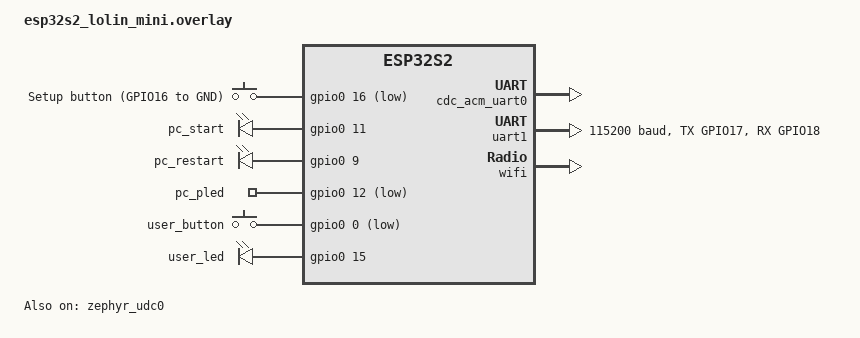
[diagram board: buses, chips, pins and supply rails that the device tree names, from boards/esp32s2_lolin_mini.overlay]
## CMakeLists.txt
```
cmake_minimum_required(VERSION 3.20.0)

find_package(Zephyr REQUIRED HINTS $ENV{ZEPHYR_BASE})
project(autoboot)

target_sources(app PRIVATE src/main.c src/certificate.c src/wifi_credentials.c
                           src/usb_maintenance.c src/mqtt_client.c)
target_link_libraries(app PRIVATE mbedTLS)

# Avoid Newlib locale-dependent ROM comparisons with Picolibc on ESP32-S2.
if(CONFIG_SOC_ESP32S2 AND CONFIG_PICOLIBC)
  target_sources(app PRIVATE src/esp32s2_string_compat.c)
  target_link_options(zephyr_interface INTERFACE
    -Wl,--wrap=strncasecmp -Wl,--wrap=strcasecmp)
endif()

# Zephyr 4.5's ESP32-S2 DWC2 UDC needs the ESP-IDF USB wrapper HAL.  Keep this
# compatibility glue in the application so a west update is never modified.
if(CONFIG_UDC_DWC2)
  set(AUTOBOOT_ESP_HAL_DIR "${WEST_TOPDIR}/modules/hal/espressif")
  zephyr_include_directories(
    "${AUTOBOOT_ESP_HAL_DIR}/components/esp_hal_usb/include"
    "${AUTOBOOT_ESP_HAL_DIR}/components/esp_hal_usb/esp32s2/include"
    "${AUTOBOOT_ESP_HAL_DIR}/components/usb/include"
  )
  target_sources(app PRIVATE
    "${AUTOBOOT_ESP_HAL_DIR}/components/esp_hal_usb/usb_wrap_hal.c"
  )
endif()
```

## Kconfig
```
mainmenu "AutoBoot Configuration"

config AUTOBOOT_DEVICE_NAME
	string "Device name"
	default "AutoBoot"
	help
	  Device name used as the prefix of the MQTT client identifier.
	  A Wi-Fi MAC suffix is added when available to keep identifiers unique.

config AUTOBOOT_MQTT_BROKER_HOST
	string "MQTT broker hostname"
	default "mqtt.example.com"
	help
	  Broker DNS hostname. This is also used as TLS SNI and the certificate
	  hostname, so do not set this to an IP address.

config AUTOBOOT_MQTT_BROKER_PORT
	int "MQTT over TLS WebSocket port"
	default 18443
	range 1 65535

config AUTOBOOT_PC_PULSE_MS
	int "PC control pulse duration in milliseconds"
	default 500
	range 50 5000

source "Kconfig.zephyr"
```

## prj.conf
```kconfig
# Networking and ESP32-S2 Wi-Fi station
CONFIG_NETWORKING=y
CONFIG_WIFI=y
CONFIG_WIFI_NM=y
CONFIG_NET_IPV4=y
CONFIG_NET_TCP=y
CONFIG_NET_DHCPV4=y
CONFIG_NET_HOSTNAME_ENABLE=y
CONFIG_NET_HOSTNAME="AutoBoot"
CONFIG_AUTOBOOT_DEVICE_NAME="AutoBoot"
CONFIG_NET_MGMT=y
CONFIG_NET_MGMT_EVENT=y
CONFIG_NET_L2_WIFI_MGMT=y
CONFIG_NET_LOG=y
CONFIG_ESP32_WIFI_STA_RECONNECT=y
CONFIG_GPIO=y
CONFIG_AUTOBOOT_PC_PULSE_MS=500

# MQTT over TLS WebSocket. The Zephyr MQTT transport implements RFC 6455 WSS.
CONFIG_MQTT_LIB=y
CONFIG_MQTT_LIB_TLS=y
CONFIG_MQTT_LIB_WEBSOCKET=y
CONFIG_WEBSOCKET_CLIENT=y
CONFIG_MQTT_LOG_LEVEL_WRN=y
CONFIG_NET_SOCKETS=y
CONFIG_NET_SOCKETS_SOCKOPT_TLS=y
CONFIG_NET_SOCKETS_LOG_LEVEL_ERR=y
CONFIG_TLS_CREDENTIALS=y
CONFIG_MBEDTLS_ENABLE_HEAP=y
# Certificate parsing and WSS mTLS handshake allocate from this dedicated heap.
# 16 KiB parses certificates but runs out during ECDSA chain verification
# with TLS record buffers allocated (PSA_ERROR_INSUFFICIENT_MEMORY, -141).
CONFIG_MBEDTLS_HEAP_SIZE=32768
CONFIG_MBEDTLS_HAVE_TIME_DATE=y
CONFIG_MBEDTLS_DEBUG=n
CONFIG_MBEDTLS_SSL_PROTO_TLS1_2=y
CONFIG_MBEDTLS_CIPHERSUITE_TLS_ECDHE_ECDSA_WITH_AES_128_GCM_SHA256=y
CONFIG_MBEDTLS_SSL_IN_CONTENT_LEN=4096
CONFIG_MBEDTLS_SSL_OUT_CONTENT_LEN=4096
CONFIG_MQTT_KEEPALIVE=45
CONFIG_DNS_RESOLVER=y
CONFIG_SNTP=y

# Native USB-C maintenance port: CDC ACM over ESP32-S2 USB-OTG.
CONFIG_USB_DEVICE_STACK_NEXT=y
CONFIG_USBD_CDC_ACM_CLASS=y
CONFIG_CDC_ACM_SERIAL_INITIALIZE_AT_BOOT=y
CONFIG_CDC_ACM_SERIAL_ENABLE_AT_BOOT=y
CONFIG_CDC_ACM_SERIAL_MANUFACTURER_STRING="AutoBoot"
CONFIG_CDC_ACM_SERIAL_PRODUCT_STRING="AutoBoot Maintenance"
# Keep USB RX/TX responsive while the system work queue connects Wi-Fi.
CONFIG_USBD_CDC_ACM_WORKQUEUE=y
CONFIG_USBD_LOG_LEVEL_WRN=y
CONFIG_USBD_CDC_ACM_LOG_LEVEL_WRN=y
CONFIG_UDC_DRIVER_LOG_LEVEL_WRN=y

# Persistent device key and certificate-signing request.
CONFIG_FLASH=y
CONFIG_FLASH_MAP=y
CONFIG_NVS=y
CONFIG_SETTINGS=y
CONFIG_SETTINGS_NVS=y
CONFIG_SECURE_STORAGE=y
CONFIG_SECURE_STORAGE_ITS_IMPLEMENTATION_ZEPHYR=y
CONFIG_SECURE_STORAGE_ITS_STORE_IMPLEMENTATION_SETTINGS=y
CONFIG_SECURE_STORAGE_ITS_TRANSFORM_IMPLEMENTATION_AEAD=y
CONFIG_SECURE_STORAGE_ITS_TRANSFORM_AEAD_NO_INSECURE_KEY_WARNING=y
CONFIG_MBEDTLS_PK_WRITE_C=y
CONFIG_MBEDTLS_PK_PARSE_C=y
CONFIG_MBEDTLS_X509_CSR_WRITE_C=y
CONFIG_MBEDTLS_X509_CRT_PARSE_C=y
CONFIG_MBEDTLS_X509_USE_C=y
CONFIG_MBEDTLS_PEM_WRITE_C=y
CONFIG_MBEDTLS_PEM_PARSE_C=y
CONFIG_PSA_WANT_KEY_TYPE_ECC_KEY_PAIR_GENERATE=y
# Verify ECDSA signatures in the broker certificate chain using CA public keys.
CONFIG_PSA_WANT_KEY_TYPE_ECC_PUBLIC_KEY=y
CONFIG_PSA_WANT_ECC_SECP_R1_256=y
CONFIG_PSA_WANT_ALG_ECDSA=y
CONFIG_PSA_WANT_ALG_SHA_256=y

# Serial logs use the UART selected by boards/esp32s2_lolin_mini.overlay.
CONFIG_CONSOLE=y
CONFIG_UART_CONSOLE=y
CONFIG_LOG=y
CONFIG_LOG_DEFAULT_LEVEL=2
CONFIG_LOG_BUFFER_SIZE=512
CONFIG_MAIN_STACK_SIZE=4096
```

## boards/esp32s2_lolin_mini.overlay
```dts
#include <zephyr/dt-bindings/gpio/gpio.h>

/ {
	aliases {
		setup-button = &setup_button;
		pc-start = &pc_start;
		pc-restart = &pc_restart;
		pc-pled = &pc_pled;
	};

	chosen {
		zephyr,console = &uart1;
		zephyr,shell-uart = &uart1;
		zephyr,settings-partition = &storage_partition;
	};

	setup_buttons {
		compatible = "gpio-keys";
		debounce-interval-ms = <30>;
		setup_button: setup_button {
			label = "Setup button (GPIO16 to GND)";
			gpios = <&gpio0 16 (GPIO_PULL_UP | GPIO_ACTIVE_LOW)>;
		};
	};
};

/ {
	autoboot_outputs {
		compatible = "gpio-leds";
		pc_start: pc_start {
			gpios = <&gpio0 11 GPIO_ACTIVE_HIGH>;
		};
		pc_restart: pc_restart {
			gpios = <&gpio0 9 GPIO_ACTIVE_HIGH>;
		};
	};

	autoboot_inputs {
		compatible = "gpio-keys";
		pc_pled: pc_pled {
			gpios = <&gpio0 12 (GPIO_PULL_UP | GPIO_ACTIVE_LOW)>;
		};
	};
};

&{/soc} {
	zephyr_udc0: usb_otg@60080000 {
		compatible = "espressif,esp32-usb-otg-fs", "snps,dwc2";
		reg = <0x60080000 0x40000>;
		status = "okay";
		interrupts = <USB_INTR_SOURCE IRQ_DEFAULT_PRIORITY 0>;
		interrupt-parent = <&intc>;
		clocks = <&clock ESP32_USB_MODULE>;
		num-out-eps = <6>;
		num-in-eps = <6>;
		ghwcfg1 = <0x00000000>;
		ghwcfg2 = <0x224dd930>;
		ghwcfg4 = <0xd3f0a030>;
		g-rx-fifo-size = <64>;
		g-np-tx-fifo-size = <16>;
		g-tx-fifo-size = <32 32 32 24>;
		phy-dp-pin = <20>;
		phy-dm-pin = <19>;

		cdc_acm_uart0: cdc_acm_uart0 {
			compatible = "zephyr,cdc-acm-uart";
			label = "AutoBoot USB";
		};
	};
};

/* Keep the ROM download button separate from the application button. */
&user_button {
	gpios = <&gpio0 0 (GPIO_PULL_UP | GPIO_ACTIVE_LOW)>;
};

&user_led {
	gpios = <&gpio0 15 GPIO_ACTIVE_HIGH>;
};

/* UART0 is unused; route the console and shell through UART1. */
&uart0 {
	status = "disabled";
};

&uart1 {
	status = "okay";
	current-speed = <115200>;
	pinctrl-0 = <&uart1_default>;
	pinctrl-names = "default";
};


&pinctrl {
	uart1_default: uart1_default {
	group1 {
		pinmux = <UART1_TX_GPIO17>;
		output-high;
	};
	group2 {
		pinmux = <UART1_RX_GPIO18>;
		bias-pull-up;
	};
	};
};

&wifi {
	status = "okay";
};
```

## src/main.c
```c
#include <zephyr/kernel.h>
#include <zephyr/drivers/gpio.h>
#include <zephyr/logging/log.h>
#include <zephyr/net/net_if.h>
#include <zephyr/net/net_mgmt.h>
#include <zephyr/net/wifi_mgmt.h>
#include <zephyr/sys/atomic.h>

#include "certificate.h"
#include "mqtt_client.h"
#include "usb_maintenance.h"
#include "wifi_credentials.h"

LOG_MODULE_REGISTER(autoboot, LOG_LEVEL_INF);

static const struct gpio_dt_spec status_led = GPIO_DT_SPEC_GET(DT_NODELABEL(user_led), gpios);
static struct k_work_delayable led_blink_work;
static struct k_work_delayable wifi_connect_work;
static atomic_t wifi_connected;
static struct net_if *wifi_iface;
static struct wifi_connect_req_params wifi_connect_params;

static void set_status_led(bool enabled)
{
	/* gpio_pin_set_dt() honors GPIO_ACTIVE_HIGH and GPIO_ACTIVE_LOW from DTS. */
	(void)gpio_pin_set_dt(&status_led, enabled);
}

static void led_blink_work_handler(struct k_work *work)
{
	ARG_UNUSED(work);

	if (atomic_get(&wifi_connected)) {
		set_status_led(true);
		return;
	}

	(void)gpio_pin_toggle_dt(&status_led);
	(void)k_work_reschedule(&led_blink_work, K_MSEC(125));
}

static void set_wifi_connection_state(bool connected)
{
	atomic_set(&wifi_connected, connected);

	if (connected) {
		(void)k_work_cancel_delayable(&led_blink_work);
		set_status_led(true);
	} else {
		(void)k_work_reschedule(&led_blink_work, K_NO_WAIT);
	}
}

static void wifi_event_handler(struct net_mgmt_event_callback *callback,
			       uint64_t event, struct net_if *iface)
{
	const struct wifi_status *status = callback->info;

	ARG_UNUSED(iface);

	switch (event) {
	case NET_EVENT_WIFI_CONNECT_RESULT:
		if (status != NULL && status->status == 0) {
			set_wifi_connection_state(true);
			LOG_INF("Wi-Fi connected");
		} else {
			set_wifi_connection_state(false);
			LOG_WRN("Wi-Fi attempt failed (%d); driver will retry",
				status != NULL ? status->status : -1);
		}
		break;
	case NET_EVENT_WIFI_DISCONNECT_RESULT:
		set_wifi_connection_state(false);
		LOG_WRN("Wi-Fi disconnected");
		break;
	default:
		break;
	}
}

static void wifi_connect_work_handler(struct k_work *work)
{
	int err;

	ARG_UNUSED(work);
	LOG_INF("Connecting to configured Wi-Fi network");
	err = net_mgmt(NET_REQUEST_WIFI_CONNECT, wifi_iface, &wifi_connect_params,
		       sizeof(wifi_connect_params));
	if (err != 0) {
		LOG_ERR("Unable to request Wi-Fi connection (%d)", err);
	}
}

int main(void)
{
	static struct net_mgmt_event_callback wifi_callback;
	size_t ssid_length;
	size_t password_length;
	int err;

	err = certificate_init();
	if (err != 0) {
		LOG_ERR("Certificate provisioning is unavailable (%d)", err);
	}
	err = wifi_credentials_init();
	if (err != 0) {
		LOG_ERR("Wi-Fi credential storage is unavailable (%d)", err);
	}
	err = autoboot_mqtt_init();
	if (err != 0) {
		LOG_ERR("MQTT initialization failed (%d)", err);
	}

	k_work_init_delayable(&led_blink_work, led_blink_work_handler);
	if (!gpio_is_ready_dt(&status_led) ||
	    gpio_pin_configure_dt(&status_led, GPIO_OUTPUT_INACTIVE) != 0) {
		LOG_ERR("Status LED is unavailable");
	}

	wifi_iface = net_if_get_wifi_sta();
	if (wifi_iface == NULL) {
		LOG_ERR("Wi-Fi station interface is unavailable");
		while (true) {
			usb_maintenance_poll();
			autoboot_mqtt_poll(false);
			k_msleep(20);
		}
	}

	net_mgmt_init_event_callback(&wifi_callback, wifi_event_handler,
				     NET_EVENT_WIFI_CONNECT_RESULT |
				     NET_EVENT_WIFI_DISCONNECT_RESULT);
	net_mgmt_add_event_callback(&wifi_callback);
	if (!wifi_credentials_available()) {
		LOG_WRN("Wi-Fi is not configured; use the USB provisioning port");
		while (true) {
			usb_maintenance_poll();
			autoboot_mqtt_poll(false);
			k_msleep(20);
		}
	}

	wifi_connect_params = (struct wifi_connect_req_params) {
		.ssid = (const uint8_t *)wifi_credentials_ssid(&ssid_length),
		.ssid_length = ssid_length,
		.psk = (const uint8_t *)wifi_credentials_password(&password_length),
		.psk_length = password_length,
		.security = WIFI_SECURITY_TYPE_PSK,
		.band = WIFI_FREQ_BAND_2_4_GHZ,
		.channel = WIFI_CHANNEL_ANY,
	};

	k_work_init_delayable(&wifi_connect_work, wifi_connect_work_handler);
	/* Let the ESP32 radio and network interface finish startup before the
	 * first association request; the driver handles later retries itself.
	 */
	(void)k_work_schedule(&wifi_connect_work, K_SECONDS(2));
	while (true) {
		usb_maintenance_poll();
		autoboot_mqtt_poll(atomic_get(&wifi_connected));
		k_msleep(20);
	}
}
```

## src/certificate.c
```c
#include <errno.h>
#include <stdbool.h>
#include <string.h>

#include <zephyr/logging/log.h>
#include <zephyr/psa/key_ids.h>
#include <zephyr/settings/settings.h>
#include <zephyr/net/tls_credentials.h>

#include <mbedtls/pk.h>
#include <mbedtls/x509_crt.h>
#include <mbedtls/x509_csr.h>
#include <psa/crypto.h>

#include "certificate.h"

LOG_MODULE_REGISTER(certificate, LOG_LEVEL_INF);

#define CERTIFICATE_CSR_PEM_MAX 1024
#define CERTIFICATE_DEVICE_KEY_ID ZEPHYR_PSA_APPLICATION_KEY_ID_RANGE_BEGIN
#define CERTIFICATE_TLS_PEM_MAX 4096

static char csr_pem[CERTIFICATE_CSR_PEM_MAX];
static char mqtt_client_pem[CERTIFICATE_TLS_PEM_MAX + 1];
static char mqtt_ca_pem[CERTIFICATE_TLS_PEM_MAX + 1];

static int certificate_settings_set(const char *name, size_t len,
				    settings_read_cb read_cb, void *cb_arg)
{
	if (strcmp(name, "csr") != 0 && strcmp(name, "client") != 0 &&
	    strcmp(name, "ca") != 0) {
		return -ENOENT;
	}
	if (len == 0) {
		return -EFBIG;
	}
	/* Client and CA values are deliberately not kept in RAM after boot. */
	if (strcmp(name, "csr") == 0) {
		if (len >= sizeof(csr_pem) || read_cb(cb_arg, csr_pem, len) < 0) {
			return -EIO;
		}
		csr_pem[len] = '\0';
	}
	return 0;
}

SETTINGS_STATIC_HANDLER_DEFINE(autoboot_cert, "autoboot_cert", NULL,
			       certificate_settings_set, NULL, NULL);

static int ensure_device_key(void)
{
	psa_key_attributes_t attributes = PSA_KEY_ATTRIBUTES_INIT;
	psa_key_id_t generated_key_id;
	psa_status_t status;

	status = psa_get_key_attributes(CERTIFICATE_DEVICE_KEY_ID, &attributes);
	if (status == PSA_SUCCESS) {
		psa_reset_key_attributes(&attributes);
		return 0;
	}
	/* PSA Crypto reports an unknown persistent key as INVALID_HANDLE on this
	 * implementation; some PSA ITS implementations return DOES_NOT_EXIST.
	 */
	if (status != PSA_ERROR_DOES_NOT_EXIST && status != PSA_ERROR_INVALID_HANDLE) {
		LOG_ERR("Device key lookup failed (%d)", status);
		return -EIO;
	}

	psa_set_key_id(&attributes, CERTIFICATE_DEVICE_KEY_ID);
	psa_set_key_lifetime(&attributes, PSA_KEY_LIFETIME_PERSISTENT);
	psa_set_key_type(&attributes, PSA_KEY_TYPE_ECC_KEY_PAIR(PSA_ECC_FAMILY_SECP_R1));
	psa_set_key_bits(&attributes, 256);
	psa_set_key_usage_flags(&attributes, PSA_KEY_USAGE_SIGN_HASH);
	psa_set_key_algorithm(&attributes, PSA_ALG_ECDSA(PSA_ALG_SHA_256));
	status = psa_generate_key(&attributes, &generated_key_id);
	psa_reset_key_attributes(&attributes);
	if (status != PSA_SUCCESS) {
		LOG_ERR("Device key generation failed (%d)", status);
		return -EIO;
	}

	LOG_INF("Generated persistent device private key");
	return 0;
}

static int generate_csr(void)
{
	mbedtls_x509write_csr request;
	mbedtls_pk_context key;
	int err;

	mbedtls_x509write_csr_init(&request);
	mbedtls_pk_init(&key);
	mbedtls_x509write_csr_set_md_alg(&request, MBEDTLS_MD_SHA256);
	err = mbedtls_x509write_csr_set_subject_name(&request, "CN=AutoBoot");
	if (err == 0) {
		err = mbedtls_pk_wrap_psa(&key, CERTIFICATE_DEVICE_KEY_ID);
	}
	if (err == 0) {
		mbedtls_x509write_csr_set_key(&request, &key);
		err = mbedtls_x509write_csr_pem(&request, (unsigned char *)csr_pem,
					       sizeof(csr_pem));
	}

	mbedtls_pk_free(&key);
	mbedtls_x509write_csr_free(&request);
	return err;
}

int certificate_init(void)
{
	psa_status_t status;
	int err;

	err = settings_subsys_init();
	if (err != 0) {
		LOG_ERR("Settings initialization failed (%d)", err);
		return err;
	}
	err = settings_load_subtree("autoboot_cert");
	if (err != 0) {
		LOG_ERR("Certificate settings load failed (%d)", err);
		return err;
	}

	status = psa_crypto_init();
	if (status != PSA_SUCCESS) {
		LOG_ERR("PSA crypto initialization failed (%d)", status);
		return -EIO;
	}
	err = ensure_device_key();
	if (err != 0) {
		return err;
	}
	if (csr_pem[0] != '\0') {
		return 0;
	}

	err = generate_csr();
	if (err != 0) {
		LOG_ERR("CSR generation failed (%d)", err);
		return err;
	}
	err = settings_save_one("autoboot_cert/csr", csr_pem, strlen(csr_pem));
	if (err == 0) {
		LOG_INF("Generated persistent device CSR");
	} else {
		LOG_ERR("CSR storage failed (%d)", err);
	}

	return err;
}

const char *certificate_csr(size_t *length)
{
	if (length != NULL) {
		*length = strlen(csr_pem);
	}
	return csr_pem;
}

static int certificate_validate(const char *pem, size_t length, bool require_device_key)
{
	mbedtls_x509_crt certificate;
	mbedtls_pk_context device_key;
	int err;

	if (length == 0 || pem == NULL || memchr(pem, '\0', length) != NULL) {
		return -EINVAL;
	}

	mbedtls_x509_crt_init(&certificate);
	mbedtls_pk_init(&device_key);
	err = mbedtls_x509_crt_parse(&certificate, (const unsigned char *)pem,
				    length + 1U);
	if (err != 0) {
		LOG_ERR("X.509 PEM parse failed: -0x%x", (unsigned int)-err);
	}
	if (err == 0 && require_device_key) {
		err = mbedtls_pk_wrap_psa(&device_key, CERTIFICATE_DEVICE_KEY_ID);
		if (err != 0) {
			LOG_ERR("Could not access the PSA device key: -0x%x", (unsigned int)-err);
		}
	}
	if (err == 0 && require_device_key) {
		err = mbedtls_pk_check_pair(&certificate.pk, &device_key);
		if (err != 0) {
			LOG_ERR("Client certificate public key differs from device key: -0x%x",
				(unsigned int)-err);
		}
	}
	mbedtls_pk_free(&device_key);
	mbedtls_x509_crt_free(&certificate);
	return err == 0 ? 0 : -EINVAL;
}

static int certificate_install(const char *name, const char *pem, size_t length,
			       bool require_device_key)
{
	int err = certificate_validate(pem, length, require_device_key);

	if (err != 0) {
		LOG_ERR("Rejected invalid %s certificate", name);
		return err;
	}
	/* Validation completes before NVS is touched: a valid prior value survives. */
	err = settings_save_one(name, pem, length);
	if (err != 0) {
		LOG_ERR("Unable to store %s certificate (%d)", name, err);
	}
	return err;
}

int certificate_install_client(const char *pem, size_t length)
{
	return certificate_install("autoboot_cert/client", pem, length, true);
}

int certificate_install_ca(const char *pem, size_t length)
{
	return certificate_install("autoboot_cert/ca", pem, length, false);
}

static int certificate_load_tls_pem(const char *name, char *buffer, size_t capacity,
				    size_t *length)
{
	ssize_t count = settings_load_one(name, buffer, capacity - 1U);

	if (count <= 0) {
		return count == 0 ? -ENOENT : (int)count;
	}
	if ((size_t)count >= capacity) {
		return -EFBIG;
	}
	buffer[count] = '\0';
	*length = (size_t)count + 1U;
	return 0;
}

int certificate_register_mqtt_tls_credentials(sec_tag_t tag)
{
	static bool registered;
	/* The volatile TLS credential backend retains this address rather than
	 * copying the key id. Keep it valid for the entire socket lifetime. */
	static const psa_key_id_t key_id = CERTIFICATE_DEVICE_KEY_ID;
	size_t client_len;
	size_t ca_len;
	int err;

	if (registered) {
		return 0;
	}
	err = certificate_load_tls_pem("autoboot_cert/client", mqtt_client_pem,
				       sizeof(mqtt_client_pem), &client_len);
	if (err != 0) {
		LOG_ERR("Client certificate is not provisioned (%d)", err);
		return err;
	}
	err = certificate_load_tls_pem("autoboot_cert/ca", mqtt_ca_pem,
				       sizeof(mqtt_ca_pem), &ca_len);
	if (err != 0) {
		LOG_ERR("MQTT server CA is not provisioned (%d)", err);
		return err;
	}

	err = tls_credential_add(tag, TLS_CREDENTIAL_CA_CERTIFICATE,
				 mqtt_ca_pem, ca_len);
	if (err != 0 && err != -EEXIST) {
		return err;
	}
	err = tls_credential_add(tag, TLS_CREDENTIAL_PUBLIC_CERTIFICATE,
				 mqtt_client_pem, client_len);
	if (err != 0 && err != -EEXIST) {
		return err;
	}
	err = tls_credential_add(tag, TLS_CREDENTIAL_PRIVATE_KEY_PSA,
				 &key_id, sizeof(key_id));
	if (err != 0 && err != -EEXIST) {
		return err;
	}
	registered = true;
	return 0;
}
```

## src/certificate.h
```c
#ifndef AUTOBOOT_CERTIFICATE_H_
#define AUTOBOOT_CERTIFICATE_H_

#include <stddef.h>
#include <zephyr/net/tls_credentials.h>

int certificate_init(void);
const char *certificate_csr(size_t *length);
int certificate_install_client(const char *pem, size_t length);
int certificate_install_ca(const char *pem, size_t length);
int certificate_register_mqtt_tls_credentials(sec_tag_t tag);

#endif /* AUTOBOOT_CERTIFICATE_H_ */
```

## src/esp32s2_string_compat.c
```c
#include <stddef.h>

/* ESP32-S2's ROM str[n]casecmp uses Newlib locale/reentrancy state which
 * is incompatible with Picolibc. HTTP/WebSocket tokens use ASCII; keep
 * the C-locale comparison here and redirect callers with --wrap.
 */
static unsigned char ascii_lower(unsigned char value)
{
	return value >= 'A' && value <= 'Z' ? value + ('a' - 'A') : value;
}

int __wrap_strncasecmp(const char *left, const char *right, size_t length)
{
	for (size_t i = 0; i < length; ++i) {
		unsigned char a = ascii_lower((unsigned char)left[i]);
		unsigned char b = ascii_lower((unsigned char)right[i]);

		if (a != b || a == 0) {
			return (int)a - (int)b;
		}
	}
	return 0;
}

int __wrap_strcasecmp(const char *left, const char *right)
{
	while (1) {
		unsigned char a = ascii_lower((unsigned char)*left++);
		unsigned char b = ascii_lower((unsigned char)*right++);

		if (a != b || a == 0) {
			return (int)a - (int)b;
		}
	}
}
```

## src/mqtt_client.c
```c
#include <errno.h>
#include <stdbool.h>
#include <stdint.h>
#include <stdio.h>
#include <string.h>

#include <zephyr/device.h>
#include <zephyr/drivers/gpio.h>
#include <zephyr/kernel.h>
#include <zephyr/logging/log.h>
#include <zephyr/net/net_if.h>
#include <zephyr/net/mqtt.h>
#include <zephyr/net/sntp.h>
#include <zephyr/net/socket.h>
#include <zephyr/net/tls_credentials.h>
#include <zephyr/settings/settings.h>
#include <zephyr/sys/clock.h>
#include <zephyr/sys/util.h>

#include "certificate.h"
#include "mqtt_client.h"

LOG_MODULE_REGISTER(autoboot_mqtt, LOG_LEVEL_INF);

#define MQTT_TLS_TAG 31
#define MQTT_RX_SIZE 256
#define MQTT_TX_SIZE 256
#define MQTT_WS_TMP_SIZE 512
#define MQTT_COMMAND_SIZE 64
#define MQTT_HISTORY_SIZE 5
#define MQTT_PULSE_MS CONFIG_AUTOBOOT_PC_PULSE_MS
#define MQTT_RECONNECT_MS 5000
#define MQTT_CONNACK_TIMEOUT_MS 10000
#define MQTT_POLL_MS 250
#define MQTT_HISTORY_SETTING "autoboot_mqtt/command_ids"
#define MQTT_CONFIG_SETTING "autoboot_mqtt/config"
#define MQTT_HOST_SIZE 96

#define TOPIC_COMMAND "AutoBoot/command/+"
#define TOPIC_STATE "AutoBoot/state"
#define TOPIC_RESULT "AutoBoot/result"
#define TOPIC_AVAILABILITY "AutoBoot/availability"

static const struct gpio_dt_spec pc_start = GPIO_DT_SPEC_GET(DT_ALIAS(pc_start), gpios);
static const struct gpio_dt_spec pc_restart = GPIO_DT_SPEC_GET(DT_ALIAS(pc_restart), gpios);
static const struct gpio_dt_spec pc_pled = GPIO_DT_SPEC_GET(DT_ALIAS(pc_pled), gpios);

struct command_history {
	uint8_t ids[MQTT_HISTORY_SIZE][16];
	uint8_t next;
	uint8_t count;
};

struct mqtt_broker_config {
	char host[MQTT_HOST_SIZE];
	uint16_t port;
};

static struct command_history history;
static struct mqtt_broker_config broker_config = {
	.host = CONFIG_AUTOBOOT_MQTT_BROKER_HOST,
	.port = CONFIG_AUTOBOOT_MQTT_BROKER_PORT,
};
static struct mqtt_client client;
static struct sockaddr_in broker;
static sec_tag_t tls_tags[] = { MQTT_TLS_TAG };
static struct mqtt_topic subscription_topic;
static struct mqtt_subscription_list subscription;
static struct mqtt_topic will_topic;
static struct mqtt_utf8 will_message;
static uint8_t rx_buffer[MQTT_RX_SIZE];
static uint8_t tx_buffer[MQTT_TX_SIZE];
static uint8_t ws_tmp_buffer[MQTT_WS_TMP_SIZE];
static uint8_t command_buffer[MQTT_COMMAND_SIZE];
static uint16_t message_id = 1;
static bool initialized;
static bool connected;
static bool connecting;
static bool abort_pending;
static bool history_ready;
static int64_t retry_at;
static int64_t connect_deadline;
static int64_t next_state_check;
static bool last_state;
static bool state_known;
static bool clock_synced;

static int synchronize_clock(void)
{
	struct sntp_time time;
	struct timespec realtime;
	int err = sntp_simple("pool.ntp.org", 5000U, &time);

	if (err != 0) {
		LOG_WRN("SNTP time sync failed (%d); TLS certificate dates cannot be trusted yet", err);
		return err;
	}
	realtime.tv_sec = (time_t)time.seconds;
	realtime.tv_nsec = (long)(((uint64_t)time.fraction * NSEC_PER_SEC) >> 32);
	err = sys_clock_settime(SYS_CLOCK_REALTIME, &realtime);
	if (err == 0) {
		clock_synced = true;
		LOG_INF("System time synchronized before TLS certificate validation");
	}
	return err;
}

static int publish_message(const char *topic, const uint8_t *payload,
			   size_t length, bool retained)
{
	struct mqtt_publish_param param = { 0 };

	param.message.topic.topic.utf8 = (uint8_t *)topic;
	param.message.topic.topic.size = strlen(topic);
	param.message.topic.qos = MQTT_QOS_1_AT_LEAST_ONCE;
	param.message.payload.data = (uint8_t *)payload;
	param.message.payload.len = length;
	param.message_id = message_id++;
	if (message_id == 0U) {
		message_id = 1U;
	}
	param.retain_flag = retained;
	return mqtt_publish(&client, &param);
}

static int pc_read_state(bool *on)
{
	/* GPIO_ACTIVE_LOW maps a physical low PLED signal to logical true. */
	int value = gpio_pin_get_dt(&pc_pled);

	if (value < 0) {
		return value;
	}
	*on = value > 0;
	return 0;
}

static bool publish_state(void)
{
	bool on;
	const uint8_t *value;
	int err = pc_read_state(&on);

	if (err != 0) {
		LOG_WRN("Unable to read PC state (%d)", err);
		state_known = false;
		return false;
	}
	value = (const uint8_t *)(on ? "ON" : "OFF");

	err = publish_message(TOPIC_STATE, value, on ? 2U : 3U, true);
	if (err != 0) {
		LOG_WRN("Unable to publish PC state");
		state_known = false;
		return false;
	}
	last_state = on;
	state_known = true;
	return true;
}

static int uuid_parse(const uint8_t *text, size_t length, uint8_t id[16])
{
	static const uint8_t hyphens[] = { 8, 13, 18, 23 };
	size_t source = 0;
	size_t output = 0;

	if (length != 36U) {
		return -EINVAL;
	}
	for (size_t i = 0; i < sizeof(hyphens); ++i) {
		if (text[hyphens[i]] != '-') {
			return -EINVAL;
		}
	}
	if (text[14] != '4' || (text[19] != '8' && text[19] != '9' &&
				text[19] != 'a' && text[19] != 'A' &&
				text[19] != 'b' && text[19] != 'B')) {
		return -EINVAL;
	}
	while (source < length) {
		uint8_t high;
		uint8_t low;
		uint8_t c = text[source++];

		if (c == '-') {
			continue;
		}
		if (c >= '0' && c <= '9') {
			high = c - '0';
		} else if (c >= 'a' && c <= 'f') {
			high = c - 'a' + 10;
		} else if (c >= 'A' && c <= 'F') {
			high = c - 'A' + 10;
		} else {
			return -EINVAL;
		}
		c = text[source++];
		if (c >= '0' && c <= '9') {
			low = c - '0';
		} else if (c >= 'a' && c <= 'f') {
			low = c - 'a' + 10;
		} else if (c >= 'A' && c <= 'F') {
			low = c - 'A' + 10;
		} else {
			return -EINVAL;
		}
		if (output >= 16U) {
			return -EINVAL;
		}
		id[output++] = (uint8_t)((high << 4) | low);
	}
	return output == 16U ? 0 : -EINVAL;
}

static int uuid_find(const uint8_t id[16])
{
	for (uint8_t i = 0; i < history.count; ++i) {
		if (memcmp(history.ids[i], id, 16U) == 0) {
			return 1;
		}
	}
	return 0;
}

static int uuid_persist_before_action(const uint8_t id[16])
{
	struct command_history next = history;
	int err;

	memcpy(next.ids[next.next], id, 16U);
	next.next = (uint8_t)((next.next + 1U) % MQTT_HISTORY_SIZE);
	if (next.count < MQTT_HISTORY_SIZE) {
		next.count++;
	}
	err = settings_save_one(MQTT_HISTORY_SETTING, &next, sizeof(next));
	if (err == 0) {
		history = next;
	}
	return err;
}

static void publish_result(const uint8_t uuid[36], const char *status)
{
	char payload[112];
	int length = snprintk(payload, sizeof(payload),
			      "{\"command_id\":\"%.*s\",\"status\":\"%s\"}",
			      36, uuid, status);

	if (length > 0 && (size_t)length < sizeof(payload)) {
		if (publish_message(TOPIC_RESULT, (const uint8_t *)payload,
				    (size_t)length, false) != 0) {
			LOG_WRN("Unable to publish command result");
		}
	}
}

static bool is_supported_command_topic(const uint8_t *topic, size_t topic_len)
{
	static const char prefix[] = "AutoBoot/command/";
	const uint8_t *name;
	size_t name_len;

	if (topic_len <= sizeof(prefix) - 1U ||
	    memcmp(topic, prefix, sizeof(prefix) - 1U) != 0) {
		return false;
	}
	name = topic + sizeof(prefix) - 1U;
	name_len = topic_len - (sizeof(prefix) - 1U);
	return (name_len == 5U && memcmp(name, "start", 5U) == 0) ||
	       (name_len == 7U && memcmp(name, "restart", 7U) == 0) ||
	       (name_len == 3U && memcmp(name, "get", 3U) == 0);
}

static bool find_command_uuid(const uint8_t *payload, size_t payload_len,
			      uint8_t uuid_text[36])
{
	static const char id_prefix[] = "\"command_id\":\"";
	uint8_t uuid[16];

	for (size_t i = 0; i + sizeof(id_prefix) - 1U <= payload_len; ++i) {
		const uint8_t *candidate;

		if (memcmp(payload + i, id_prefix, sizeof(id_prefix) - 1U) != 0) {
			continue;
		}
		candidate = payload + i + sizeof(id_prefix) - 1U;
		if ((size_t)(candidate - payload) + 37U <= payload_len &&
		    candidate[36] == '"' && uuid_parse(candidate, 36U, uuid) == 0) {
			memcpy(uuid_text, candidate, 36U);
			return true;
		}
		return false;
	}
	return false;
}

static void process_command(const uint8_t *topic, size_t topic_len,
			    const uint8_t *payload, size_t payload_len)
{
	static const char command_prefix[] = "AutoBoot/command/";
	static const char id_prefix[] = "\"command_id\":\"";
	const uint8_t *name;
	size_t name_len;
	const uint8_t *uuid_text = NULL;
	uint8_t uuid[16];
	bool is_get;
	int err;

	if (topic_len <= sizeof(command_prefix) - 1U ||
	    memcmp(topic, command_prefix, sizeof(command_prefix) - 1U) != 0) {
		return;
	}
	name = topic + sizeof(command_prefix) - 1U;
	name_len = topic_len - (sizeof(command_prefix) - 1U);
	if ((name_len == 5U && memcmp(name, "start", 5U) == 0) ||
	    (name_len == 7U && memcmp(name, "restart", 7U) == 0)) {
		is_get = false;
	} else if (name_len == 3U && memcmp(name, "get", 3U) == 0) {
		is_get = true;
	} else {
		return;
	}

	/* Accept only the specified compact JSON form and extract command_id. */
	for (size_t i = 0; i + sizeof(id_prefix) - 1U <= payload_len; ++i) {
		if (memcmp(payload + i, id_prefix, sizeof(id_prefix) - 1U) == 0) {
			uuid_text = payload + i + sizeof(id_prefix) - 1U;
			break;
		}
	}
	if (uuid_text == NULL || (size_t)(uuid_text - payload) + 37U > payload_len ||
	    uuid_text[36] != '"' || uuid_parse(uuid_text, 36U, uuid) != 0) {
		LOG_WRN("Rejected command with invalid UUIDv4");
		return;
	}
	if (!history_ready) {
		publish_result(uuid_text, "ERROR");
		return;
	}
	if (uuid_find(uuid)) {
		publish_result(uuid_text, "DUPLICATE");
		return;
	}
	if (is_get) {
		publish_result(uuid_text, publish_state() ? "COMPLETED" : "ERROR");
		return;
	}
	if (name_len == 5U) {
		bool on;

		err = pc_read_state(&on);
		if (err != 0) {
			LOG_ERR("Could not read PC state before start (%d)", err);
			publish_result(uuid_text, "ERROR");
			return;
		}
		if (on) {
			publish_result(uuid_text, "ALREADY_ON");
			return;
		}
	}
	/* Commit the UUID ring before the physical action to prevent replay after reboot. */
	if (uuid_persist_before_action(uuid) != 0) {
		LOG_ERR("Could not persist command UUID; action skipped");
		publish_result(uuid_text, "ERROR");
		return;
	}
	const struct gpio_dt_spec *output = name_len == 5U ? &pc_start : &pc_restart;
	err = gpio_pin_set_dt(output, 1);
	if (err != 0) {
		LOG_ERR("Could not assert PC control GPIO (%d)", err);
		publish_result(uuid_text, "ERROR");
		return;
	}
	k_msleep(MQTT_PULSE_MS);
	err = gpio_pin_set_dt(output, 0);
	if (err != 0) {
		LOG_ERR("Could not deassert PC control GPIO (%d)", err);
		publish_result(uuid_text, "ERROR");
		return;
	}
	publish_result(uuid_text, "COMPLETED");
}

static void mqtt_event_handler(struct mqtt_client *client_ctx,
			       const struct mqtt_evt *event)
{
	switch (event->type) {
	case MQTT_EVT_CONNACK:
		if (event->result == 0) {
			connected = true;
			connecting = false;
			LOG_INF("Connected to MQTT broker over WSS");
			(void)publish_message(TOPIC_AVAILABILITY,
					     (const uint8_t *)"online", 6U, true);
			(void)mqtt_subscribe(client_ctx, &subscription);
			publish_state();
			next_state_check = k_uptime_get() + MQTT_POLL_MS;
		} else {
			connected = false;
			connecting = false;
			LOG_ERR("MQTT CONNACK rejected (%d)", event->result);
		}
		break;
	case MQTT_EVT_PUBLISH: {
		const struct mqtt_publish_param *publish = &event->param.publish;
		size_t length = publish->message.payload.len;
		bool payload_complete = false;

		if (length < sizeof(command_buffer)) {
			int read = mqtt_readall_publish_payload(client_ctx, command_buffer, length);

			if (read == 0) {
				payload_complete = true;
				process_command(publish->message.topic.topic.utf8,
						publish->message.topic.topic.size,
						command_buffer, length);
			} else {
				LOG_WRN("Incomplete MQTT command payload; reconnecting");
				abort_pending = true;
			}
		} else {
			LOG_WRN("Ignoring oversized MQTT command: topic=%.*s payload=%u bytes max=%u",
				(int)publish->message.topic.topic.size,
				publish->message.topic.topic.utf8,
				(unsigned int)length,
				(unsigned int)(sizeof(command_buffer) - 1U));
			/* Preserve a bounded prefix for a possible correlated REJECTED result. */
			size_t prefix_len = MIN(length, sizeof(command_buffer));
			size_t discarded = 0U;
			uint8_t rejected_uuid[36];
			bool can_report = false;

			while (discarded < prefix_len) {
				size_t remaining = prefix_len - discarded;
				int read = mqtt_read_publish_payload_blocking(client_ctx,
								      command_buffer + discarded,
								      remaining);

				if (read <= 0 || (size_t)read > remaining) {
					LOG_WRN("Could not read oversized MQTT command prefix (%d)", read);
					abort_pending = true;
					break;
				}
				discarded += (size_t)read;
			}
			if (discarded == prefix_len &&
			    is_supported_command_topic(publish->message.topic.topic.utf8,
						       publish->message.topic.topic.size)) {
				can_report = find_command_uuid(command_buffer, prefix_len,
						       rejected_uuid);
			}

			/* Drain the remainder in small pieces before handling another packet. */
			while (!abort_pending && discarded < length) {
				size_t chunk = MIN(length - discarded, sizeof(command_buffer));
				int read = mqtt_read_publish_payload_blocking(client_ctx,
									      command_buffer, chunk);

				if (read <= 0 || (size_t)read > chunk) {
					LOG_WRN("Could not drain oversized MQTT payload (%d)", read);
					abort_pending = true;
					break;
				}
				discarded += (size_t)read;
			}
			payload_complete = discarded == length;
			if (payload_complete && can_report) {
				publish_result(rejected_uuid, "REJECTED");
			} else if (payload_complete) {
				LOG_WRN("Oversized command discarded without valid UUIDv4; no result sent");
			}
		}
		if (payload_complete && publish->message.topic.qos == MQTT_QOS_1_AT_LEAST_ONCE) {
			struct mqtt_puback_param ack = {
				.message_id = publish->message_id,
			};
			(void)mqtt_publish_qos1_ack(client_ctx, &ack);
		}
		break;
	}
	case MQTT_EVT_DISCONNECT:
		connected = false;
		connecting = false;
		LOG_WRN("MQTT disconnected (%d)", event->result);
		retry_at = k_uptime_get() + MQTT_RECONNECT_MS;
		break;
	case MQTT_EVT_PUBACK:
	case MQTT_EVT_SUBACK:
	case MQTT_EVT_PINGRESP:
		break;
	default:
		LOG_DBG("MQTT event %d result %d", event->type, event->result);
		break;
	}
}

static int load_command_history(void)
{
	ssize_t length = settings_load_one(MQTT_HISTORY_SETTING, &history, sizeof(history));

	/* settings_load_one() returns zero on some backends when this optional
	 * setting has never been written.  An empty UUID ring is valid. */
	if (length == 0 || length == -ENOENT) {
		memset(&history, 0, sizeof(history));
		return 0;
	}
	if (length < 0) {
		LOG_ERR("Could not read persisted command UUID ring (%d)", (int)length);
		return (int)length;
	}
	if (length != sizeof(history) || history.count > MQTT_HISTORY_SIZE ||
	    history.next >= MQTT_HISTORY_SIZE) {
		LOG_ERR("Invalid persisted command UUID ring; actions disabled");
		return -EBADMSG;
	}
	return 0;
}

static int mqtt_client_prepare(void)
{
	static uint8_t client_id[64];
	static const uint8_t will_payload[] = "offline";
	struct net_if *iface = net_if_get_wifi_sta();
	const struct net_linkaddr *link = iface != NULL ? net_if_get_link_addr(iface) : NULL;
	int id_len;

	if (client_id[0] == '\0') {
		if (link != NULL && link->len >= 6U) {
			id_len = snprintk((char *)client_id, sizeof(client_id),
					  CONFIG_AUTOBOOT_DEVICE_NAME "-%02X%02X%02X%02X%02X%02X",
					  link->addr[0], link->addr[1], link->addr[2],
					  link->addr[3], link->addr[4], link->addr[5]);
		} else {
			id_len = snprintk((char *)client_id, sizeof(client_id),
					  CONFIG_AUTOBOOT_DEVICE_NAME);
		}
		if (id_len < 0 || (size_t)id_len >= sizeof(client_id)) {
			return -EINVAL;
		}
	}

	mqtt_client_init(&client);
	client.broker = &broker;
	client.evt_cb = mqtt_event_handler;
	client.client_id.utf8 = (uint8_t *)client_id;
	client.client_id.size = strlen((const char *)client_id);
	client.protocol_version = MQTT_VERSION_3_1_1;
	client.keepalive = 45U;
	client.rx_buf = rx_buffer;
	client.rx_buf_size = sizeof(rx_buffer);
	client.tx_buf = tx_buffer;
	client.tx_buf_size = sizeof(tx_buffer);
	client.will_topic = &will_topic;
	client.will_message = &will_message;
	client.will_retain = 1U;
	client.transport.type = MQTT_TRANSPORT_SECURE_WEBSOCKET;
	client.transport.tls.config.peer_verify = TLS_PEER_VERIFY_REQUIRED;
	client.transport.tls.config.sec_tag_list = tls_tags;
	client.transport.tls.config.sec_tag_count = ARRAY_SIZE(tls_tags);
	client.transport.tls.config.hostname = broker_config.host;
	client.transport.websocket.config.host = broker_config.host;
	client.transport.websocket.config.url = "/mqtt";
	client.transport.websocket.config.tmp_buf = ws_tmp_buffer;
	client.transport.websocket.config.tmp_buf_len = sizeof(ws_tmp_buffer);
	client.transport.websocket.timeout = 5000;

	will_topic.topic.utf8 = (uint8_t *)TOPIC_AVAILABILITY;
	will_topic.topic.size = sizeof(TOPIC_AVAILABILITY) - 1U;
	will_topic.qos = MQTT_QOS_1_AT_LEAST_ONCE;
	will_message.utf8 = (uint8_t *)will_payload;
	will_message.size = sizeof(will_payload) - 1U;
	return 0;
}

static bool hostname_valid(const char *host, size_t length)
{
	bool label_start = true;
	size_t label_length = 0;

	if (length == 0U || length >= MQTT_HOST_SIZE || host[0] == '.' ||
	    host[length - 1U] == '.' || host[length - 1U] == '-') {
		return false;
	}
	for (size_t i = 0; i < length; ++i) {
		char c = host[i];

		if (c == '.') {
			if (label_start || label_length > 63U || host[i - 1U] == '-') {
				return false;
			}
			label_start = true;
			label_length = 0;
		} else if ((c >= 'a' && c <= 'z') || (c >= 'A' && c <= 'Z') ||
			   (c >= '0' && c <= '9') || c == '-') {
			if (label_start && c == '-') {
				return false;
			}
			label_start = false;
			label_length++;
		} else {
			return false;
		}
	}
	return label_length <= 63U;
}

int autoboot_mqtt_configure(const char *host, uint16_t port)
{
	struct mqtt_broker_config next = { 0 };
	size_t length;
	int err;

	if (host == NULL) {
		return -EINVAL;
	}
	length = strlen(host);
	if (!hostname_valid(host, length) || port == 0U) {
		return -EINVAL;
	}
	memcpy(next.host, host, length);
	next.port = port;
	err = settings_save_one(MQTT_CONFIG_SETTING, &next, sizeof(next));
	if (err != 0) {
		return err;
	}
	broker_config = next;
	broker.sin_port = htons(port);
	if (connected || connecting) {
		(void)mqtt_abort(&client);
		connected = false;
		connecting = false;
	}
	retry_at = 0;
	LOG_INF("Stored MQTT broker configuration (%s:%u)", host, port);
	return 0;
}

static void load_broker_config(void)
{
	struct mqtt_broker_config stored;
	ssize_t length = settings_load_one(MQTT_CONFIG_SETTING, &stored, sizeof(stored));

	if (length == sizeof(stored) && stored.port != 0U &&
	    memchr(stored.host, '\0', sizeof(stored.host)) != NULL &&
	    hostname_valid(stored.host, strlen(stored.host))) {
		broker_config = stored;
	}
	broker.sin_port = htons(broker_config.port);
}

int autoboot_mqtt_init(void)
{
	int err;

	if (!gpio_is_ready_dt(&pc_start) || !gpio_is_ready_dt(&pc_restart) ||
	    !gpio_is_ready_dt(&pc_pled)) {
		return -ENODEV;
	}
	err = gpio_pin_configure_dt(&pc_start, GPIO_OUTPUT_INACTIVE);
	if (err == 0) {
		err = gpio_pin_configure_dt(&pc_restart, GPIO_OUTPUT_INACTIVE);
	}
	if (err == 0) {
		err = gpio_pin_configure_dt(&pc_pled, GPIO_INPUT);
	}
	if (err != 0) {
		return err;
	}
	err = load_command_history();
	history_ready = (err == 0);
	if (!history_ready) {
		LOG_ERR("Command actions disabled until UUID history can be loaded");
	}
	err = certificate_register_mqtt_tls_credentials(MQTT_TLS_TAG);
	if (err != 0) {
		LOG_WRN("MQTT disabled until client and CA certificates are installed (%d)", err);
	} else {
		LOG_INF("MQTT mTLS credentials loaded");
	}
	load_broker_config();
	broker.sin_family = AF_INET;
	broker.sin_port = htons(broker_config.port);
	subscription_topic.topic.utf8 = (uint8_t *)TOPIC_COMMAND;
	subscription_topic.topic.size = sizeof(TOPIC_COMMAND) - 1U;
	subscription_topic.qos = MQTT_QOS_1_AT_LEAST_ONCE;
	subscription.list = &subscription_topic;
	subscription.list_count = 1U;
	subscription.message_id = 1U;
	(void)mqtt_client_prepare();
	initialized = true;
	return 0;
}

void autoboot_mqtt_poll(bool wifi_connected)
{
	int64_t now = k_uptime_get();
	int err;

	if (!initialized || !wifi_connected) {
		if (connected || connecting) {
			(void)mqtt_abort(&client);
			connected = false;
			connecting = false;
		}
		return;
	}
	if (!connected && !connecting && now >= retry_at) {
		struct zsock_addrinfo hints = { .ai_family = AF_INET, .ai_socktype = SOCK_STREAM };
		struct zsock_addrinfo *result = NULL;

		if (!clock_synced && synchronize_clock() != 0) {
			retry_at = now + MQTT_RECONNECT_MS;
			return;
		}
		if (certificate_register_mqtt_tls_credentials(MQTT_TLS_TAG) != 0) {
			retry_at = now + MQTT_RECONNECT_MS;
			return;
		}
		err = zsock_getaddrinfo(broker_config.host, NULL, &hints, &result);
		if (err != 0 || result == NULL) {
			LOG_WRN("MQTT DNS lookup failed (%d)", err);
			retry_at = now + MQTT_RECONNECT_MS;
			return;
		}
		broker.sin_addr = ((struct sockaddr_in *)result->ai_addr)->sin_addr;
		zsock_freeaddrinfo(result);
		mqtt_client_prepare();
		err = mqtt_connect(&client);
		if (err != 0) {
			LOG_WRN("MQTT WSS connect failed (%d)", err);
			(void)mqtt_abort(&client);
			retry_at = now + MQTT_RECONNECT_MS;
			return;
		}
		connecting = true;
		connect_deadline = now + MQTT_CONNACK_TIMEOUT_MS;
		retry_at = now + MQTT_RECONNECT_MS;
		return;
	}
	if (connecting && now >= connect_deadline) {
		LOG_WRN("MQTT CONNACK timed out");
		(void)mqtt_abort(&client);
		connected = false;
		connecting = false;
		retry_at = now + MQTT_RECONNECT_MS;
		return;
	}
	if (!connected && !connecting) {
		return;
	}
	{
		struct zsock_pollfd descriptor = {
			.fd = client.transport.websocket.sock,
			.events = ZSOCK_POLLIN,
		};
		int ready = zsock_poll(&descriptor, 1U, 0);

		if (ready > 0 && (descriptor.revents & (ZSOCK_POLLIN | ZSOCK_POLLERR | ZSOCK_POLLHUP))) {
			err = mqtt_input(&client);
			if (abort_pending) {
				abort_pending = false;
				(void)mqtt_abort(&client);
				connected = false;
				connecting = false;
				retry_at = now + MQTT_RECONNECT_MS;
				return;
			}
			if (err != 0 && err != -EAGAIN) {
				LOG_WRN("MQTT input failed (%d)", err);
				(void)mqtt_abort(&client);
				connected = false;
				retry_at = now + MQTT_RECONNECT_MS;
				return;
			}
		}
	}
	if (!connected) {
		return;
	}
	err = mqtt_live(&client);
	if (err != 0 && err != -EAGAIN) {
		LOG_WRN("MQTT keepalive failed (%d)", err);
		(void)mqtt_abort(&client);
		connected = false;
		retry_at = now + MQTT_RECONNECT_MS;
		return;
	}
	if (now >= next_state_check) {
		bool state;

		if (pc_read_state(&state) != 0) {
			state_known = false;
		} else if (!state_known || state != last_state) {
			publish_state();
		}
		next_state_check = now + MQTT_POLL_MS;
	}
}
```

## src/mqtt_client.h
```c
#ifndef AUTOBOOT_MQTT_CLIENT_H_
#define AUTOBOOT_MQTT_CLIENT_H_

#include <stdbool.h>

int autoboot_mqtt_init(void);
void autoboot_mqtt_poll(bool wifi_connected);
int autoboot_mqtt_configure(const char *host, uint16_t port);

#endif
```

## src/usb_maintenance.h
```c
#ifndef AUTOBOOT_USB_MAINTENANCE_H_
#define AUTOBOOT_USB_MAINTENANCE_H_

void usb_maintenance_poll(void);

#endif /* AUTOBOOT_USB_MAINTENANCE_H_ */
```

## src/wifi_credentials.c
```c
#include <errno.h>
#include <string.h>

#include <zephyr/settings/settings.h>

#include "wifi_credentials.h"

#define WIFI_SSID_MAX_LENGTH 32
#define WIFI_PASSWORD_MAX_LENGTH 63

static char stored_ssid[WIFI_SSID_MAX_LENGTH + 1];
static char stored_password[WIFI_PASSWORD_MAX_LENGTH + 1];

static int wifi_settings_set(const char *name, size_t len,
			     settings_read_cb read_cb, void *cb_arg)
{
	char *destination;
	size_t destination_size;

	if (strcmp(name, "ssid") == 0) {
		destination = stored_ssid;
		destination_size = sizeof(stored_ssid);
	} else if (strcmp(name, "password") == 0) {
		destination = stored_password;
		destination_size = sizeof(stored_password);
	} else {
		return -ENOENT;
	}
	if (len == 0 || len >= destination_size || read_cb(cb_arg, destination, len) < 0) {
		return -EINVAL;
	}
	destination[len] = '\0';
	return 0;
}

SETTINGS_STATIC_HANDLER_DEFINE(autoboot_wifi, "autoboot_wifi", NULL,
			       wifi_settings_set, NULL, NULL);

int wifi_credentials_init(void)
{
	int err = settings_subsys_init();

	if (err != 0) {
		return err;
	}
	return settings_load_subtree("autoboot_wifi");
}

bool wifi_credentials_available(void)
{
	return stored_ssid[0] != '\0' && stored_password[0] != '\0';
}

const char *wifi_credentials_ssid(size_t *length)
{
	*length = strlen(stored_ssid);
	return stored_ssid;
}

const char *wifi_credentials_password(size_t *length)
{
	*length = strlen(stored_password);
	return stored_password;
}

int wifi_credentials_set(const char *ssid, size_t ssid_length,
			 const char *password, size_t password_length)
{
	char verify_ssid[WIFI_SSID_MAX_LENGTH];
	char verify_password[WIFI_PASSWORD_MAX_LENGTH];
	int err;

	if (ssid_length == 0 || ssid_length > WIFI_SSID_MAX_LENGTH ||
	    password_length < 8 || password_length > WIFI_PASSWORD_MAX_LENGTH) {
		return -EINVAL;
	}
	err = settings_save_one("autoboot_wifi/ssid", ssid, ssid_length);
	if (err != 0) {
		return err;
	}
	err = settings_save_one("autoboot_wifi/password", password, password_length);
	if (err != 0) {
		return err;
	}
	if (settings_load_one("autoboot_wifi/ssid", verify_ssid,
			      sizeof(verify_ssid)) != (ssize_t)ssid_length ||
	    memcmp(verify_ssid, ssid, ssid_length) != 0 ||
	    settings_load_one("autoboot_wifi/password", verify_password,
			      sizeof(verify_password)) != (ssize_t)password_length ||
	    memcmp(verify_password, password, password_length) != 0) {
		return -EIO;
	}

	memcpy(stored_ssid, ssid, ssid_length);
	stored_ssid[ssid_length] = '\0';
	memcpy(stored_password, password, password_length);
	stored_password[password_length] = '\0';
	return 0;
}
```

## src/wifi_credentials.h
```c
#ifndef AUTOBOOT_WIFI_CREDENTIALS_H_
#define AUTOBOOT_WIFI_CREDENTIALS_H_

#include <stdbool.h>
#include <stddef.h>

int wifi_credentials_init(void);
bool wifi_credentials_available(void);
const char *wifi_credentials_ssid(size_t *length);
const char *wifi_credentials_password(size_t *length);
int wifi_credentials_set(const char *ssid, size_t ssid_length,
			 const char *password, size_t password_length);

#endif /* AUTOBOOT_WIFI_CREDENTIALS_H_ */
```
